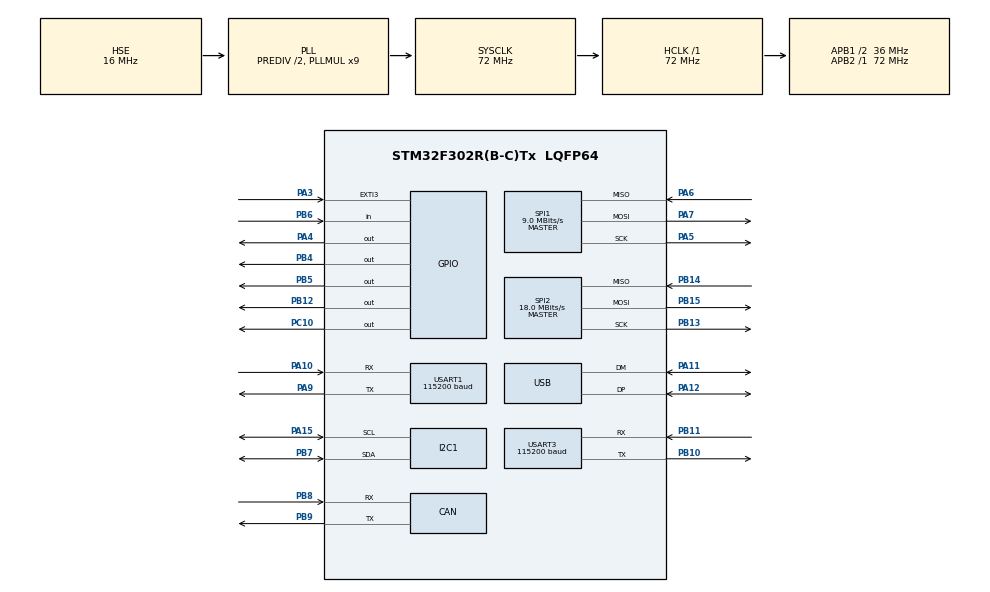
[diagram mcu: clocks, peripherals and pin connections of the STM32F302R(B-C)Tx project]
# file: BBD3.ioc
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CAN.CalculateTimeQuantum=444.44444444444446
FREERTOS.Tasks01=defaultTask,0,512,StartDefaultTask,Default,NULL,Dynamic,NULL,NULL
FREERTOS.configMINIMAL_STACK_SIZE=256
FREERTOS.configTOTAL_HEAP_SIZE=10000
Mcu.Family=STM32F3
Mcu.Name=STM32F302R(B-C)Tx
Mcu.Package=LQFP64
NVIC.CAN_RX1_IRQn=true\:5\:0\:false\:false\:true\:true\:true\:true
NVIC.CAN_SCE_IRQn=true\:5\:0\:false\:false\:true\:true\:true\:true
NVIC.EXTI3_IRQn=true\:5\:0\:false\:false\:true\:true\:true\:true
NVIC.I2C1_ER_IRQn=true\:5\:0\:false\:false\:true\:true\:true\:true
NVIC.I2C1_EV_IRQn=true\:5\:0\:false\:false\:true\:true\:true\:true
NVIC.PriorityGroup=NVIC_PRIORITYGROUP_4
NVIC.SPI1_IRQn=true\:5\:0\:false\:false\:true\:true\:true\:true
NVIC.SPI2_IRQn=true\:5\:0\:false\:false\:true\:true\:true\:true
NVIC.TIM1_UP_TIM16_IRQn=true\:0\:0\:false\:false\:true\:false\:false\:true
NVIC.TimeBase=TIM1_UP_TIM16_IRQn
NVIC.TimeBaseIP=TIM1
NVIC.USART1_IRQn=true\:5\:0\:false\:false\:true\:true\:true\:true
NVIC.USART3_IRQn=true\:5\:0\:false\:false\:true\:true\:true\:true
NVIC.USB_HP_CAN_TX_IRQn=true\:5\:0\:false\:false\:true\:true\:true\:true
PA10.Mode=Asynchronous
PA10.Signal=USART1_RX
PA11.Mode=Device
PA11.Signal=USB_DM
PA12.Mode=Device
PA12.Signal=USB_DP
PA13.Mode=Serial_Wire
PA13.Signal=SYS_JTMS-SWDIO
PA14.Mode=Serial_Wire
PA14.Signal=SYS_JTCK-SWCLK
PA15.Mode=I2C
PA15.Signal=I2C1_SCL
PA3.Signal=GPXTI3
PA4.Signal=GPIO_Output
PA5.Mode=Full_Duplex_Master
PA5.Signal=SPI1_SCK
PA6.Mode=Full_Duplex_Master
PA6.Signal=SPI1_MISO
PA7.Mode=Full_Duplex_Master
PA7.Signal=SPI1_MOSI
PA9.Mode=Asynchronous
PA9.Signal=USART1_TX
PB10.Mode=Asynchronous
PB10.Signal=USART3_TX
PB11.Mode=Asynchronous
PB11.Signal=USART3_RX
PB12.Signal=GPIO_Output
PB13.Mode=Full_Duplex_Master
PB13.Signal=SPI2_SCK
PB14.Mode=Full_Duplex_Master
PB14.Signal=SPI2_MISO
PB15.Mode=Full_Duplex_Master
PB15.Signal=SPI2_MOSI
PB4.Signal=GPIO_Output
PB5.Signal=GPIO_Output
PB6.Signal=GPIO_Input
PB7.Mode=I2C
PB7.Signal=I2C1_SDA
PB8.Mode=Master
PB8.Signal=CAN_RX
PB9.Mode=Master
PB9.Signal=CAN_TX
PC10.Signal=GPIO_Output
PF0-OSC_IN.Mode=HSE-External-Oscillator
PF0-OSC_IN.Signal=RCC_OSC_IN
PF1-OSC_OUT.Mode=HSE-External-Oscillator
PF1-OSC_OUT.Signal=RCC_OSC_OUT
ProjectManager.HeapSize=0x200
ProjectManager.StackSize=0x400
ProjectManager.TargetToolchain=MDK-ARM V5
RCC.AHBFreq_Value=72000000
RCC.APB1CLKDivider=RCC_HCLK_DIV2
RCC.APB1Freq_Value=36000000
RCC.APB1TimFreq_Value=72000000
RCC.APB2Freq_Value=72000000
RCC.APB2TimFreq_Value=72000000
RCC.CortexFreq_Value=72000000
RCC.HCLKFreq_Value=72000000
RCC.HSE_VALUE=16000000
RCC.HSI_VALUE=8000000
RCC.LSE_VALUE=32768
RCC.PLLMUL=RCC_PLL_MUL9
RCC.PRESCALERUSB=RCC_USBCLKSOURCE_PLL_DIV1_5
RCC.RCC_PLLsource_Clock_Source_FROM_HSE=RCC_HSE_PREDIV_DIV2
RCC.SYSCLKFreq_VALUE=72000000
RCC.SYSCLKSourceVirtual=RCC_SYSCLKSOURCE_PLLCLK
RCC.USBFreq_Value=48000000
SPI1.BaudRatePrescaler=SPI_BAUDRATEPRESCALER_8
SPI1.CalculateBaudRate=9.0 MBits/s
SPI1.DataSize=SPI_DATASIZE_8BIT
SPI1.Direction=SPI_DIRECTION_2LINES
SPI1.Mode=SPI_MODE_MASTER
SPI1.TIMode=SPI_TIMODE_DISABLE
SPI1.VirtualType=VM_MASTER
SPI2.BaudRatePrescaler=SPI_BAUDRATEPRESCALER_2
SPI2.CalculateBaudRate=18.0 MBits/s
SPI2.Direction=SPI_DIRECTION_2LINES
SPI2.Mode=SPI_MODE_MASTER
SPI2.VirtualType=VM_MASTER
USART1.BaudRate=115200
USART1.VirtualMode-Asynchronous=VM_ASYNC
USART3.BaudRate=115200
USART3.VirtualMode-Asynchronous=VM_ASYNC
VP_CRC_VS_CRC.Mode=CRC_Activate
VP_FREERTOS_VS_CMSIS_V1.Mode=CMSIS_V1
VP_RTC_VS_RTC_Activate.Mode=RTC_Enabled
VP_SYS_VS_tim1.Mode=TIM1
board=custom

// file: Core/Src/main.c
/* USER CODE BEGIN Header */
/**
  ******************************************************************************
  * @file           : main.c
  * @brief          : Main program body
  ******************************************************************************
  * This notice applies to any and all portions of this file
  * that are not between comment pairs USER CODE BEGIN and
  * USER CODE END. Other portions of this file, whether
  * inserted by the user or by software development tools
  * are owned by their respective copyright owners.
  *
  * Copyright (c) 2019 STMicroelectronics International N.V.
  * All rights reserved.
  *
  * Redistribution and use in source and binary forms, with or without
  * modification, are permitted, provided that the following conditions are met:
  *
  * 1. Redistribution of source code must retain the above copyright notice,
  *    this list of conditions and the following disclaimer.
  * 2. Redistributions in binary form must reproduce the above copyright notice,
  *    this list of conditions and the following disclaimer in the documentation
  *    and/or other materials provided with the distribution.
  * 3. Neither the name of STMicroelectronics nor the names of other
  *    contributors to this software may be used to endorse or promote products
  *    derived from this software without specific written permission.
  * 4. This software, including modifications and/or derivative works of this
  *    software, must execute solely and exclusively on microcontroller or
  *    microprocessor devices manufactured by or for STMicroelectronics.
  * 5. Redistribution and use of this software other than as permitted under
  *    this license is void and will automatically terminate your rights under
  *    this license.
  *
  * THIS SOFTWARE IS PROVIDED BY STMICROELECTRONICS AND CONTRIBUTORS "AS IS"
  * AND ANY EXPRESS, IMPLIED OR STATUTORY WARRANTIES, INCLUDING, BUT NOT
  * LIMITED TO, THE IMPLIED WARRANTIES OF MERCHANTABILITY, FITNESS FOR A
  * PARTICULAR PURPOSE AND NON-INFRINGEMENT OF THIRD PARTY INTELLECTUAL PROPERTY
  * RIGHTS ARE DISCLAIMED TO THE FULLEST EXTENT PERMITTED BY LAW. IN NO EVENT
  * SHALL STMICROELECTRONICS OR CONTRIBUTORS BE LIABLE FOR ANY DIRECT, INDIRECT,
  * INCIDENTAL, SPECIAL, EXEMPLARY, OR CONSEQUENTIAL DAMAGES (INCLUDING, BUT NOT
  * LIMITED TO, PROCUREMENT OF SUBSTITUTE GOODS OR SERVICES; LOSS OF USE, DATA,
  * OR PROFITS; OR BUSINESS INTERRUPTION) HOWEVER CAUSED AND ON ANY THEORY OF
  * LIABILITY, WHETHER IN CONTRACT, STRICT LIABILITY, OR TORT (INCLUDING
  * NEGLIGENCE OR OTHERWISE) ARISING IN ANY WAY OUT OF THE USE OF THIS SOFTWARE,
  * EVEN IF ADVISED OF THE POSSIBILITY OF SUCH DAMAGE.
  *
  ******************************************************************************
  */
/* USER CODE END Header */

#include "main.h"
#include "cmsis_os.h"
#include "can.h"
#include "crc.h"
#include "i2c.h"
#include "rtc.h"
#include "spi.h"
#include "usart.h"
#include "usb.h"
#include "gpio.h"

/* USER CODE BEGIN Includes */
#include "error_handling_api.h"
#include "uart_api.h"
/* USER CODE END Includes */

void SystemClock_Config(void);
void MX_FREERTOS_Init(void);

int main(void)
{

  /* MCU Configuration--------------------------------------------------------*/

  /* Reset of all peripherals, Initializes the Flash interface and the Systick. */
  HAL_Init();

  /* Configure the system clock */
  SystemClock_Config();

  /* Initialize all configured peripherals */
  MX_GPIO_Init();
  MX_RTC_Init();
  MX_USART1_UART_Init();
  MX_USART3_UART_Init();
  MX_SPI1_Init();
  MX_SPI2_Init();
  MX_USB_PCD_Init();
  MX_CAN_Init();
  MX_CRC_Init();
  MX_I2C1_Init();
  /* USER CODE BEGIN 2 */
  HAL_GPIO_WritePin(GPIOB, GPIO_PIN_4, GPIO_PIN_RESET);
  ClearErrorLed();
  InitializeUartInterrupts();
  /* USER CODE END 2 */

  /* Call init function for freertos objects (in freertos.c) */
  MX_FREERTOS_Init();

  /* Start scheduler */
  osKernelStart();

  /* We should never get here as control is now taken by the scheduler */

  /* Infinite loop */
  while (1)
  {

  }
}

void SystemClock_Config(void)
{
  RCC_OscInitTypeDef RCC_OscInitStruct = {0};
  RCC_ClkInitTypeDef RCC_ClkInitStruct = {0};
  RCC_PeriphCLKInitTypeDef PeriphClkInit = {0};

  /** Initializes the CPU, AHB and APB busses clocks
  */
  RCC_OscInitStruct.OscillatorType = RCC_OSCILLATORTYPE_HSI|RCC_OSCILLATORTYPE_LSI
                              |RCC_OSCILLATORTYPE_HSE;
  RCC_OscInitStruct.HSEState = RCC_HSE_ON;
  RCC_OscInitStruct.HSEPredivValue = RCC_HSE_PREDIV_DIV2;
  RCC_OscInitStruct.HSIState = RCC_HSI_ON;
  RCC_OscInitStruct.HSICalibrationValue = RCC_HSICALIBRATION_DEFAULT;
  RCC_OscInitStruct.LSIState = RCC_LSI_ON;
  RCC_OscInitStruct.PLL.PLLState = RCC_PLL_ON;
  RCC_OscInitStruct.PLL.PLLSource = RCC_PLLSOURCE_HSE;
  RCC_OscInitStruct.PLL.PLLMUL = RCC_PLL_MUL9;
  if (HAL_RCC_OscConfig(&RCC_OscInitStruct) != HAL_OK)
  {
    Error_Handler();
  }
  /** Initializes the CPU, AHB and APB busses clocks
  */
  RCC_ClkInitStruct.ClockType = RCC_CLOCKTYPE_HCLK|RCC_CLOCKTYPE_SYSCLK
                              |RCC_CLOCKTYPE_PCLK1|RCC_CLOCKTYPE_PCLK2;
  RCC_ClkInitStruct.SYSCLKSource = RCC_SYSCLKSOURCE_PLLCLK;
  RCC_ClkInitStruct.AHBCLKDivider = RCC_SYSCLK_DIV1;
  RCC_ClkInitStruct.APB1CLKDivider = RCC_HCLK_DIV2;
  RCC_ClkInitStruct.APB2CLKDivider = RCC_HCLK_DIV1;

  if (HAL_RCC_ClockConfig(&RCC_ClkInitStruct, FLASH_LATENCY_2) != HAL_OK)
  {
    Error_Handler();
  }
  PeriphClkInit.PeriphClockSelection = RCC_PERIPHCLK_USB|RCC_PERIPHCLK_USART1
                              |RCC_PERIPHCLK_USART3|RCC_PERIPHCLK_I2C1
                              |RCC_PERIPHCLK_RTC;
  PeriphClkInit.Usart1ClockSelection = RCC_USART1CLKSOURCE_PCLK2;
  PeriphClkInit.Usart3ClockSelection = RCC_USART3CLKSOURCE_PCLK1;
  PeriphClkInit.I2c1ClockSelection = RCC_I2C1CLKSOURCE_HSI;
  PeriphClkInit.RTCClockSelection = RCC_RTCCLKSOURCE_LSI;
  PeriphClkInit.USBClockSelection = RCC_USBCLKSOURCE_PLL_DIV1_5;
  if (HAL_RCCEx_PeriphCLKConfig(&PeriphClkInit) != HAL_OK)
  {
    Error_Handler();
  }
}

void HAL_TIM_PeriodElapsedCallback(TIM_HandleTypeDef *htim)
{
  if (htim->Instance == TIM1) {
    HAL_IncTick();
  }
}

void Error_Handler(void)
{
}

/************************ (C) COPYRIGHT STMicroelectronics *****END OF FILE****/

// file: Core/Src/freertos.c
/* USER CODE BEGIN Header */
/**
  ******************************************************************************
  * File Name          : freertos.c
  * Description        : Code for freertos applications
  ******************************************************************************
  * This notice applies to any and all portions of this file
  * that are not between comment pairs USER CODE BEGIN and
  * USER CODE END. Other portions of this file, whether
  * inserted by the user or by software development tools
  * are owned by their respective copyright owners.
  *
  * Copyright (c) 2019 STMicroelectronics International N.V.
  * All rights reserved.
  *
  * Redistribution and use in source and binary forms, with or without
  * modification, are permitted, provided that the following conditions are met:
  *
  * 1. Redistribution of source code must retain the above copyright notice,
  *    this list of conditions and the following disclaimer.
  * 2. Redistributions in binary form must reproduce the above copyright notice,
  *    this list of conditions and the following disclaimer in the documentation
  *    and/or other materials provided with the distribution.
  * 3. Neither the name of STMicroelectronics nor the names of other
  *    contributors to this software may be used to endorse or promote products
  *    derived from this software without specific written permission.
  * 4. This software, including modifications and/or derivative works of this
  *    software, must execute solely and exclusively on microcontroller or
  *    microprocessor devices manufactured by or for STMicroelectronics.
  * 5. Redistribution and use of this software other than as permitted under
  *    this license is void and will automatically terminate your rights under
  *    this license.
  *
  * THIS SOFTWARE IS PROVIDED BY STMICROELECTRONICS AND CONTRIBUTORS "AS IS"
  * AND ANY EXPRESS, IMPLIED OR STATUTORY WARRANTIES, INCLUDING, BUT NOT
  * LIMITED TO, THE IMPLIED WARRANTIES OF MERCHANTABILITY, FITNESS FOR A
  * PARTICULAR PURPOSE AND NON-INFRINGEMENT OF THIRD PARTY INTELLECTUAL PROPERTY
  * RIGHTS ARE DISCLAIMED TO THE FULLEST EXTENT PERMITTED BY LAW. IN NO EVENT
  * SHALL STMICROELECTRONICS OR CONTRIBUTORS BE LIABLE FOR ANY DIRECT, INDIRECT,
  * INCIDENTAL, SPECIAL, EXEMPLARY, OR CONSEQUENTIAL DAMAGES (INCLUDING, BUT NOT
  * LIMITED TO, PROCUREMENT OF SUBSTITUTE GOODS OR SERVICES; LOSS OF USE, DATA,
  * OR PROFITS; OR BUSINESS INTERRUPTION) HOWEVER CAUSED AND ON ANY THEORY OF
  * LIABILITY, WHETHER IN CONTRACT, STRICT LIABILITY, OR TORT (INCLUDING
  * NEGLIGENCE OR OTHERWISE) ARISING IN ANY WAY OUT OF THE USE OF THIS SOFTWARE,
  * EVEN IF ADVISED OF THE POSSIBILITY OF SUCH DAMAGE.
  *
  ******************************************************************************
  */
/* USER CODE END Header */

#include "FreeRTOS.h"
#include "task.h"
#include "main.h"
#include "cmsis_os.h"

/* USER CODE BEGIN Includes */
#include "uart_api.h"
#include "message_queue_api.h"
#include "error_handling_api.h"
#include "spi_api.h"
#include "mpu9250_api.h"
#include "MahonyAHRS.h"
/* USER CODE END Includes */

osThreadId defaultTaskHandle;

void StartDefaultTask(void const * argument);

void MX_FREERTOS_Init(void); /* (MISRA C 2004 rule 8.1) */

void MX_FREERTOS_Init(void) {

  /* USER CODE BEGIN RTOS_MUTEX */
  InitializeUartMutexes();
  InitializeSpiMutexes();
  /* USER CODE END RTOS_MUTEX */

  /* USER CODE BEGIN RTOS_QUEUES */
  InitializeMessageQueues();
  /* USER CODE END RTOS_QUEUES */

  /* Create the thread(s) */
  /* definition and creation of defaultTask */
  osThreadDef(defaultTask, StartDefaultTask, osPriorityNormal, 0, 512);
  defaultTaskHandle = osThreadCreate(osThread(defaultTask), NULL);

}

void StartDefaultTask(void const * argument)
{
  sImuData_t ImuData;
  /* USER CODE BEGIN StartDefaultTask */
  if (!PrintToUart(eUart_1, "Serial communication is online\r")) {
    RepportErrorByLed();
  }
  if (!Mpu_Init()) {
    PrintToUart(eUart_1, "MPU9250 initialization failed\r");
  }
  PrintToUart(eUart_1, "Device initialization complete\r");
  /* TODO: transfer this to dedicated control loop task */
  for(;;)
  {
    /* TODO: fix MPU INT */
    /* TODO: test magnetometer data */
    //ulTaskNotifyTake(pdTRUE, portMAX_DELAY);
    vTaskDelay(500); // for demonstration purpouses
    ReadIMU(&ImuData);
    MahonyAHRSupdate(ImuData.G.X, ImuData.G.Y, ImuData.G.Z,
                     ImuData.A.X, ImuData.A.Y, ImuData.A.Z,
                     ImuData.M.X, ImuData.M.Y, ImuData.M.Z);
    printQuaternion(); // for demonstration purpouses
  }
  /* USER CODE END StartDefaultTask */
}

/************************ (C) COPYRIGHT STMicroelectronics *****END OF FILE****/
